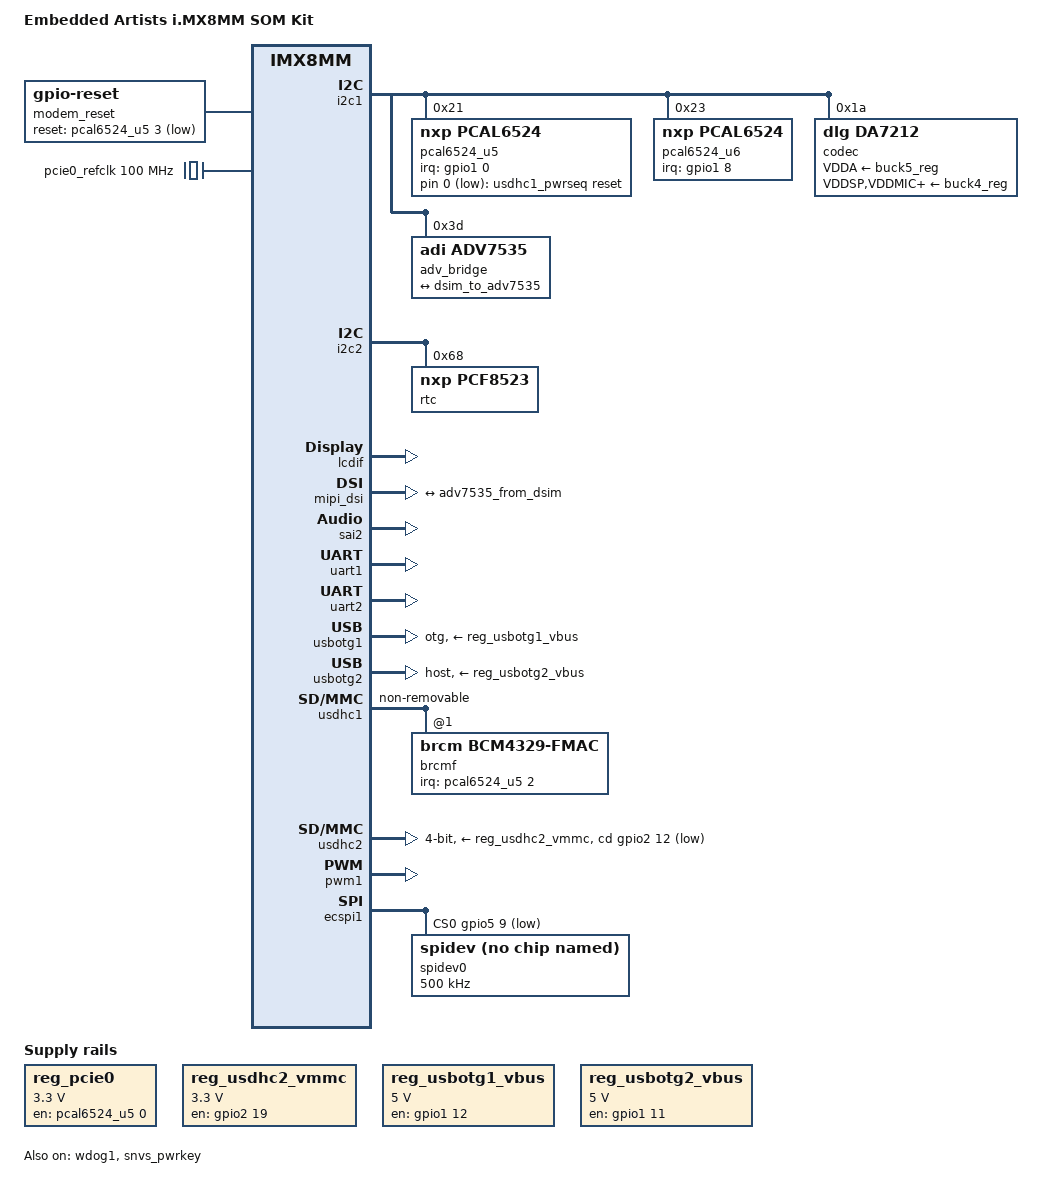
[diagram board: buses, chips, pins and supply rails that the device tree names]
/*
 * Copyright 2025 Embedded Artists AB
 *
 * This program is free software; you can redistribute it and/or
 * modify it under the terms of the GNU General Public License
 * as published by the Free Software Foundation; either version 2
 * of the License, or (at your option) any later version.
 *
 * This program is distributed in the hope that it will be useful,
 * but WITHOUT ANY WARRANTY; without even the implied warranty of
 * MERCHANTABILITY or FITNESS FOR A PARTICULAR PURPOSE.  See the
 * GNU General Public License for more details.
 */

/dts-v1/;

#include <dt-bindings/phy/phy-imx8-pcie.h>
#include "imx8mm-ea-som.dtsi"

/ {
	model = "Embedded Artists i.MX8MM SOM Kit";
	compatible = "fsl,imx8mmea-som", "fsl,imx8mm";

	chosen {
		bootargs = "console=ttymxc1,115200 earlycon=ec_imx6q,0x30890000,115200";
		stdout-path = &uart2;
	};

	modem_reset: modem-reset {
		compatible = "gpio-reset";
		reset-gpios = <&pcal6524_u5 3 GPIO_ACTIVE_LOW>; /* M2E_BT_REG_ON */
		initially-in-reset;
		reset-delay-us = <2000>;
		reset-post-delay-ms = <100>;
		#reset-cells = <0>;
	};


	pcie0_refclk: pcie0-refclk {
		compatible = "fixed-clock";
		#clock-cells = <0>;
		clock-frequency = <100000000>;
	};

	reg_pcie0: regulator-pcie {
		compatible = "regulator-fixed";
		regulator-name = "MPCIE_3V3";
		regulator-min-microvolt = <3300000>;
		regulator-max-microvolt = <3300000>;
		gpio = <&pcal6524_u5 0 GPIO_ACTIVE_HIGH>; /* M2E_WL_REG_ON */
		enable-active-high;
	};

	regulators {
		compatible = "simple-bus";
		#address-cells = <1>;
		#size-cells = <0>;

		reg_usdhc2_vmmc: regulator-usdhc2 {
			compatible = "regulator-fixed";
			regulator-name = "VSD_3V3";
			regulator-min-microvolt = <3300000>;
			regulator-max-microvolt = <3300000>;
			gpio = <&gpio2 19 GPIO_ACTIVE_HIGH>;
			off-on-delay = <20000>;
			enable-active-high;
		};

		reg_usbotg1_vbus: regulator-usbotg1 {
			compatible = "regulator-fixed";
			regulator-name = "usbotg_vbus";
			regulator-min-microvolt = <5000000>;
			regulator-max-microvolt = <5000000>;
			gpio = <&gpio1 12 GPIO_ACTIVE_HIGH>;
			off-on-delay = <20000>;
			enable-active-high;
		};

		reg_usbotg2_vbus: regulator-usbotg2 {
			compatible = "regulator-fixed";
			regulator-name = "usbotg_vbus";
			regulator-min-microvolt = <5000000>;
			regulator-max-microvolt = <5000000>;
			gpio = <&gpio1 11 GPIO_ACTIVE_HIGH>;
			off-on-delay = <20000>;
			enable-active-high;
		};

		/* add construct for "fmac" to control WL_REG_ON signal */
		usdhc1_pwrseq: usdhc1_pwrseq {
			compatible = "mmc-pwrseq-simple";
			reset-gpios = <&pcal6524_u5 0 GPIO_ACTIVE_LOW>; /* M2E_WL_REG_ON */
			post-power-on-delay-ms = <120>;
			status = "okay";
		};

	};

	sound-da7217 {
		compatible = "simple-audio-card";
		simple-audio-card,name = "da7217-audio";
		simple-audio-card,format = "i2s";
		simple-audio-card,frame-master = <&cpudai>;
		simple-audio-card,bitclock-master = <&cpudai>;
		simple-audio-card,widgets = "Speaker", "Ext Spk";
		simple-audio-card,routing = "Ext Spk", "LINE";

		cpudai: simple-audio-card,cpu {
			sound-dai = <&sai2>;
			dai-tdm-slot-num = <2>;
			dai-tdm-slot-width = <32>;
		};

		simple-audio-card,codec {
			sound-dai = <&codec>;
			clocks = <&clk IMX8MM_CLK_SAI2_ROOT>;
		};
	};

};

&iomuxc {
	pinctrl-names = "default";

	imx8mmea-som-kit {

		pinctrl_mipi_dsi_en: mipi_dsi_en {
			fsl,pins = <
				MX8MM_IOMUXC_GPIO1_IO08_GPIO1_IO8		0x16
			>;
		};

		pinctrl_pcie0: pcie0grp {
			fsl,pins = <
				MX8MM_IOMUXC_I2C4_SCL_PCIE1_CLKREQ_B	0x61    /* open drain, pull up */
				MX8MM_IOMUXC_NAND_DATA02_GPIO3_IO8      0x06    /* Reset for onboard DeepX */
			>;
		};

		pinctrl_sai2: sai2grp {
			fsl,pins = <
				MX8MM_IOMUXC_SAI2_MCLK_SAI2_MCLK	0xd6
				MX8MM_IOMUXC_SAI2_TXD0_SAI2_TX_DATA0	0xd6
				MX8MM_IOMUXC_SAI2_TXC_SAI2_TX_BCLK	0xd6
				MX8MM_IOMUXC_SAI2_RXD0_SAI2_RX_DATA0	0xd6
				MX8MM_IOMUXC_SAI2_TXFS_SAI2_TX_SYNC	0xd6
			>;
		};

		pinctrl_uart1: uart1grp {
			fsl,pins = <
				MX8MM_IOMUXC_UART1_RXD_UART1_DCE_RX	0x140
				MX8MM_IOMUXC_UART1_TXD_UART1_DCE_TX	0x140
				MX8MM_IOMUXC_UART3_RXD_UART1_DCE_CTS_B	0x140
				MX8MM_IOMUXC_UART3_TXD_UART1_DCE_RTS_B	0x140
			>;
		};

		pinctrl_uart2: uart2grp {
			fsl,pins = <
				MX8MM_IOMUXC_UART2_RXD_UART2_DCE_RX	0x140
				MX8MM_IOMUXC_UART2_TXD_UART2_DCE_TX	0x140
			>;
		};

		pinctrl_usdhc1: usdhc1grp {
			fsl,pins = <
				MX8MM_IOMUXC_SD1_CLK_USDHC1_CLK		0x190
				MX8MM_IOMUXC_SD1_CMD_USDHC1_CMD		0x1d0
				MX8MM_IOMUXC_SD1_DATA0_USDHC1_DATA0	0x1d0
				MX8MM_IOMUXC_SD1_DATA1_USDHC1_DATA1	0x1d0
				MX8MM_IOMUXC_SD1_DATA2_USDHC1_DATA2	0x1d0
				MX8MM_IOMUXC_SD1_DATA3_USDHC1_DATA3	0x1d0
			>;
		};

		pinctrl_usdhc1_100mhz: usdhc1grp100mhz {
			fsl,pins = <
				MX8MM_IOMUXC_SD1_CLK_USDHC1_CLK		0x194
				MX8MM_IOMUXC_SD1_CMD_USDHC1_CMD		0x1d4
				MX8MM_IOMUXC_SD1_DATA0_USDHC1_DATA0	0x1d4
				MX8MM_IOMUXC_SD1_DATA1_USDHC1_DATA1	0x1d4
				MX8MM_IOMUXC_SD1_DATA2_USDHC1_DATA2	0x1d4
				MX8MM_IOMUXC_SD1_DATA3_USDHC1_DATA3	0x1d4
			>;
		};

		pinctrl_usdhc1_200mhz: usdhc1grp200mhz {
			fsl,pins = <
				MX8MM_IOMUXC_SD1_CLK_USDHC1_CLK		0x192
				MX8MM_IOMUXC_SD1_CMD_USDHC1_CMD		0x1d4
				MX8MM_IOMUXC_SD1_DATA0_USDHC1_DATA0	0x1d4
				MX8MM_IOMUXC_SD1_DATA1_USDHC1_DATA1	0x1d4
				MX8MM_IOMUXC_SD1_DATA2_USDHC1_DATA2	0x1d4
				MX8MM_IOMUXC_SD1_DATA3_USDHC1_DATA3	0x1d4
			>;
		};

		pinctrl_usdhc2_gpio: usdhc2grpgpio {
			fsl,pins = <
				MX8MM_IOMUXC_SD2_RESET_B_GPIO2_IO19     0x41
				MX8MM_IOMUXC_SD2_CD_B_GPIO2_IO12	0x1c4
			>;
		};

		pinctrl_usdhc2: usdhc2grp {
			fsl,pins = <
				MX8MM_IOMUXC_SD2_CLK_USDHC2_CLK		0x190
				MX8MM_IOMUXC_SD2_CMD_USDHC2_CMD		0x1d0
				MX8MM_IOMUXC_SD2_DATA0_USDHC2_DATA0	0x1d0
				MX8MM_IOMUXC_SD2_DATA1_USDHC2_DATA1	0x1d0
				MX8MM_IOMUXC_SD2_DATA2_USDHC2_DATA2	0x1d0
				MX8MM_IOMUXC_SD2_DATA3_USDHC2_DATA3	0x1d0
				MX8MM_IOMUXC_GPIO1_IO04_USDHC2_VSELECT	0x1d0
			>;
		};

		pinctrl_usdhc2_100mhz: usdhc2grp100mhz {
			fsl,pins = <
				MX8MM_IOMUXC_SD2_CLK_USDHC2_CLK		0x194
				MX8MM_IOMUXC_SD2_CMD_USDHC2_CMD		0x1d4
				MX8MM_IOMUXC_SD2_DATA0_USDHC2_DATA0	0x1d4
				MX8MM_IOMUXC_SD2_DATA1_USDHC2_DATA1	0x1d4
				MX8MM_IOMUXC_SD2_DATA2_USDHC2_DATA2	0x1d4
				MX8MM_IOMUXC_SD2_DATA3_USDHC2_DATA3	0x1d4
				MX8MM_IOMUXC_GPIO1_IO04_USDHC2_VSELECT	0x1d0
			>;
		};

		pinctrl_usdhc2_200mhz: usdhc2grp200mhz {
			fsl,pins = <
				MX8MM_IOMUXC_SD2_CLK_USDHC2_CLK		0x196
				MX8MM_IOMUXC_SD2_CMD_USDHC2_CMD		0x1d6
				MX8MM_IOMUXC_SD2_DATA0_USDHC2_DATA0	0x1d6
				MX8MM_IOMUXC_SD2_DATA1_USDHC2_DATA1	0x1d6
				MX8MM_IOMUXC_SD2_DATA2_USDHC2_DATA2	0x1d6
				MX8MM_IOMUXC_SD2_DATA3_USDHC2_DATA3	0x1d6
				MX8MM_IOMUXC_GPIO1_IO04_USDHC2_VSELECT	0x1d0
			>;
		};

		pinctrl_wdog: wdoggrp {
			fsl,pins = <
				MX8MM_IOMUXC_GPIO1_IO02_WDOG1_WDOG_B		0xc6
			>;
		};

		pinctrl_pwm1: pwm1grp {
			fsl,pins = <
				MX8MM_IOMUXC_GPIO1_IO01_PWM1_OUT		0x06
			>;
		};

		pinctrl_usbotg1: usbotg1grp {
			fsl,pins = <
				MX8MM_IOMUXC_GPIO1_IO12_GPIO1_IO12		0x1d6     /* USB1_PWR_EN */
				MX8MM_IOMUXC_GPIO1_IO13_USB1_OTG_OC		0x1d6
			>;
		};
		pinctrl_usbotg2: usbotg2grp {
			fsl,pins = <
				MX8MM_IOMUXC_GPIO1_IO11_GPIO1_IO11		0x1d6     /* USB2_PWR_EN */
			>;
		};
		pinctrl_pcal6524_u5: pcal6524u5grp {
			fsl,pins = <
				MX8MM_IOMUXC_GPIO1_IO00_GPIO1_IO0		0x1d6     /* GPIO_A-IRQ */
			>;
		};
		pinctrl_pcal6524_u6: pcal6524u6grp {
			fsl,pins = <
				MX8MM_IOMUXC_GPIO1_IO08_GPIO1_IO8		0x1d6     /* GPIO_B-IRQ */
			>;
		};
		pinctrl_ecspi1: ecspi1grp {
			fsl,pins = <
				MX8MM_IOMUXC_ECSPI1_SCLK_ECSPI1_SCLK		0x80  /* MIKROE-SCK */
				MX8MM_IOMUXC_ECSPI1_MOSI_ECSPI1_MOSI		0x80  /* MIKROE-MOSI */
				MX8MM_IOMUXC_ECSPI1_MISO_ECSPI1_MISO		0x80  /* MIKROE-MISO */
				MX8MM_IOMUXC_ECSPI1_SS0_GPIO5_IO9		0x80  /* MIKROE-CS */
			>;
		};
	};
};

&i2c1 {
	pcal6524_u5: gpio@21 {
		compatible = "nxp,pcal6524";
		pinctrl-names = "default";
		pinctrl-0 = <&pinctrl_pcal6524_u5>;
		reg = <0x21>;
		gpio-controller;
		#gpio-cells = <2>;
		interrupt-controller;
		#interrupt-cells = <2>;
		interrupt-parent = <&gpio1>;
		interrupts = <0 IRQ_TYPE_EDGE_BOTH>;
		gpio-line-names = "M2E_WL_REG_ON_3V3", "M2E_WL_DEV_WAKE", "M2E_WL_HOST_WAKE", "M2E_BT_REG_ON", 
			"M2E_BT_DEV_WAKE", "M2E_BT_HOST_WAKE", "M2E_SDIO_RST", "M2E_PERST", 
			"M2E_PEWAKE", "M2E_ALERT", "M2E_PWR_EN", "M2B_PWR_OFF",
			"M2B_WDISABLE", "M2B_PEWAKE", "M2B_PERST", "M2M_PERST",
			"M2M_PEWAKE", "M2BM_PWR_EN", "M2B_RESET", "SE050_EN_RST",
			"SLS32AIA_RST", "I2C_EXT_IRQ", "I2C_EXT_RST", "MIPI_RST";

		hog_M2BM_PWR_EN {
			gpio-hog;
			gpios = <17 0>;
			output-high;
		};
		hog_SE050_EN_RST {
			gpio-hog;
			gpios = <19 0>;
			output-high;
		};
		hog_SLS32AIA_RST {
			gpio-hog;
			gpios = <20 0>;
			output-high;
		};
		hog_I2C_EXT_RST {
			gpio-hog;
			gpios = <22 0>;
			output-high;
		};
		hog_MIPI_RST {
			gpio-hog;
			gpios = <23 0>;
			output-high;
		};
	};

	pcal6524_u6: gpio@23 {
		compatible = "nxp,pcal6524";
		pinctrl-names = "default";
		pinctrl-0 = <&pinctrl_pcal6524_u6>;
		reg = <0x23>;
		gpio-controller;
		#gpio-cells = <2>;
		interrupt-controller;
		#interrupt-cells = <2>;
		interrupt-parent = <&gpio1>;
		interrupts = <8 IRQ_TYPE_EDGE_BOTH>;
		gpio-line-names = "CSI0_RST-DATA", "CSI0_PWR-CLK", "CSI1_RST-DATA", "CSI1_PWR-CLK", 
			"MIPI_CTP_RST", "MIPI_CTP_IRQ", "RGB_BL_PWR", "RGB_CTP_RST",
			"RGB_CTP_IRQ", "MIPI_BL_PWR_EN", "ADV_IRQ", "",
			"", "", "", "RGB_LED_RED",
			"RGB_LED_BLUE", "RGB_LED_GREEN", "USER_LED_RED", "USER_LED_GREEN",
			"USER_LED_YELLOW", "USER_BUTTON1", "USER_BUTTON2", "USER_BUTTON3";

		hog_CSI0_RST_DATA {
			gpio-hog;
			gpios = <0 0>;
			output-high;
		};
		hog_CSI0_PWR_CLK {
			gpio-hog;
			gpios = <1 0>;
			output-high;
		};
		hog_CSI1_RST_DATA {
			gpio-hog;
			gpios = <2 0>;
			output-high;
		};
		hog_CSI1_PWR_CLK {
			gpio-hog;
			gpios = <3 0>;
			output-high;
		};
		hog_MIPI_CTP_RST {
			gpio-hog;
			gpios = <4 0>;
			output-high;
		};
		hog_RGB_BL_PWR {
			gpio-hog;
			gpios = <6 0>;
			output-low;
		};
		hog_RGB_CTP_RST {
			gpio-hog;
			gpios = <7 0>;
			output-high;
		};
		hog_MIPI_BL_PWR_EN {
			gpio-hog;
			gpios = <9 0>;
			output-low;
		};
	};

	codec: audio-codec@1a {
		compatible = "dlg,da7212";
		reg = <0x1a>;
		#sound-dai-cells = <0>;
		
		/* From 
		 * arch/arm/boot/dts/nxp/imx/imx6dl-b1x5pv2.dtsi
		 * arch/arm64/boot/dts/renesas/r8a779g0-white-hawk-ard-audio-da7212.dtso
		 */

		VDDA-supply = <&buck5_reg>; /* 1v8 */
		VDDSP-supply = <&buck4_reg>; /* 3v3 */
		VDDMIC-supply = <&buck4_reg>; /* 3v3 */
		VDDIO-supply = <&buck4_reg>; /* 3v3 */

		/*dlg,micbias1-lvl = <2500>;*/
		/*dlg,micbias2-lvl = <2500>;*/
		/*dlg,dmic-data-sel = "lrise_rfall";*/
		/*dlg,dmic-samplephase = "between_clkedge";*/
		/*dlg,dmic-clkrate = <3000000>;*/

		clocks = <&clk IMX8MM_CLK_SAI2_ROOT>;
		clock-names = "mclk";
        };

	/* MISSING CAM1 CSI Camera: Unknown I2C-address */

	/* MISSING MIPI-DSI Display Capacitive Touch: Unknown I2C-address */

	adv_bridge: adv7535@3d {
		compatible = "adi,adv7535";
		reg = <0x3d>;
		adi,dsi-lanes = <4>;
		status = "okay";
		/*interrupt-parent = <&pcal6524_u6>;
		interrupts = <10 IRQ_TYPE_LEVEL_LOW>;  / * ADV_IRQ */

		port {
			adv7535_from_dsim: endpoint {
				remote-endpoint = <&dsim_to_adv7535>;
			};
		};
	};

	/* MISSING EUI-48 address memory: reg 0x52 but how to declare it? */
};

&i2c2 {
	/* Missing SE05x security processor: reg 0x48 but how to declare it? */

	/* Missing SLS32AIA010MK secure element: reg 0x30 but how to declare it? */

	rtc@68 {
		compatible = "nxp,pcf8523";
		reg = <0x68>;
	};
};

&lcdif {
	status = "okay";
};

&mipi_dsi {
	status = "okay";

	port@1 {
		dsim_to_adv7535: endpoint {
			remote-endpoint = <&adv7535_from_dsim>;
			attach-bridge;
		};
	};
};

&sai2 {
	#sound-dai-cells = <0>;
	pinctrl-names = "default";
	pinctrl-0 = <&pinctrl_sai2>;
	assigned-clocks = <&clk IMX8MM_CLK_SAI2>;
	assigned-clock-parents = <&clk IMX8MM_AUDIO_PLL2_OUT>;
	assigned-clock-rates = <11289600>;
	fsl,sai-mclk-direction-output;
	status = "okay";
};

&pcie_phy {
	fsl,refclk-pad-mode = <IMX8_PCIE_REFCLK_PAD_INPUT>;
	fsl,tx-deemph-gen1 = <0x2d>;
	fsl,tx-deemph-gen2 = <0xf>;
	clocks = <&pcie0_refclk>;
	status = "disabled";
};

&pcie0 {
	pinctrl-names = "default";
	pinctrl-0 = <&pinctrl_pcie0>;
	reset-gpio = <&pcal6524_u5  7 GPIO_ACTIVE_LOW>;   /* M2E_PERST# */
	clocks = <&clk IMX8MM_CLK_PCIE1_ROOT>,
		 <&clk IMX8MM_CLK_PCIE1_AUX>,
		 <&pcie0_refclk>;
	clock-names = "pcie", "pcie_aux", "pcie_bus";
	assigned-clocks = <&clk IMX8MM_CLK_PCIE1_AUX>,
			  <&clk IMX8MM_CLK_PCIE1_CTRL>;
	assigned-clock-rates = <10000000>, <250000000>;
	assigned-clock-parents = <&clk IMX8MM_SYS_PLL2_50M>,
				 <&clk IMX8MM_SYS_PLL2_250M>;
	vpcie-supply = <&reg_pcie0>;
	status = "disabled";
};

/* Bluetooth UART for m.2 connector on Carrier Board */
&uart1 {
	pinctrl-names = "default";
	pinctrl-0 = <&pinctrl_uart1>;
	status = "okay";

	assigned-clocks = <&clk IMX8MM_CLK_UART1>;
	assigned-clock-parents = <&clk IMX8MM_SYS_PLL1_80M>;

	resets = <&modem_reset>;
	fsl,uart-has-rtscts;
};

/* Console */
&uart2 {
	pinctrl-names = "default";
	pinctrl-0 = <&pinctrl_uart2>;
	status = "okay";
};

/* Disabled as pins are used by Bluetooth for RTS/CTS */
&uart3 {
	status = "disabled";
};

&usbotg1 {
	dr_mode = "otg";
	picophy,pre-emp-curr-control = <3>;
	picophy,dc-vol-level-adjust = <7>;
	status = "okay";

	pinctrl-names = "default";
	pinctrl-0 = <&pinctrl_usbotg1>;
	vbus-supply = <&reg_usbotg1_vbus>;
};

&usbotg2 {
	dr_mode = "host";
	picophy,pre-emp-curr-control = <3>;
	picophy,dc-vol-level-adjust = <7>;
	status = "okay";

	pinctrl-names = "default";
	pinctrl-0 = <&pinctrl_usbotg2>;
	vbus-supply = <&reg_usbotg2_vbus>;
};

/* Functionality differs for usdhc1 depending on what is mounted on
   the SOM. If the SOM has an onboard 2FY module mounted then usdhc1
   is connected to that. If there is no 2FY module on the SOM then
   usdhc1 is connected to the M.2 key E connector on the Carrier
   Board. */
&usdhc1 {
	#address-cells = <1>;
	#size-cells = <0>;
	pinctrl-names = "default", "state_100mhz", "state_200mhz";
	pinctrl-0 = <&pinctrl_usdhc1>;
	pinctrl-1 = <&pinctrl_usdhc1_100mhz>;
	pinctrl-2 = <&pinctrl_usdhc1_200mhz>;
	keep-power-in-suspend;
	non-removable;
	pm-ignore-notify;
	cap-power-off;
	mmc-pwrseq = <&usdhc1_pwrseq>;
	status = "okay";
	brcmf: bcrmf@1 {
		reg = <1>;
		compatible = "brcm,bcm4329-fmac";
		interrupt-parent = <&pcal6524_u5>;
		interrupts = <2 IRQ_TYPE_LEVEL_LOW>;  /* M2E_WL_HOST_WAKE active low for M.2. */
		interrupt-names = "host-wake";
	};
};

/* uSD connector on the Carrier Board */
&usdhc2 {
	pinctrl-names = "default", "state_100mhz", "state_200mhz";
	pinctrl-0 = <&pinctrl_usdhc2>, <&pinctrl_usdhc2_gpio>;
	pinctrl-1 = <&pinctrl_usdhc2_100mhz>, <&pinctrl_usdhc2_gpio>;
	pinctrl-2 = <&pinctrl_usdhc2_200mhz>, <&pinctrl_usdhc2_gpio>;
	bus-width = <4>;
	cd-gpios = <&gpio2 12 GPIO_ACTIVE_LOW>;
	vmmc-supply = <&reg_usdhc2_vmmc>;
	status = "okay";
};

&wdog1 {
	pinctrl-names = "default";
	pinctrl-0 = <&pinctrl_wdog>;
	fsl,ext-reset-output;
	status = "okay";
};

&pwm1 {
	status= "okay";
	pinctrl-names = "default";
	pinctrl-0 = <&pinctrl_pwm1>;
};

&snvs_pwrkey {
	status= "okay";   /* Enables SW5 ON/OFF */
};

/* SPI interface for the MIKROE connector. Can also be used for the SPI interface
   of the 2EL M.2 module. */
&ecspi1 {
	#address-cells = <1>;
	#size-cells = <0>;
	fsl,spi-num-chipselects = <1>;
	pinctrl-names = "default";
	pinctrl-0 = <&pinctrl_ecspi1>;
	cs-gpios = <&gpio5 9 GPIO_ACTIVE_LOW>;
	status = "okay";

	spidev0: spi@0 {
		reg = <0>;
		compatible = "rohm,dh2228fv";
		spi-max-frequency = <500000>;
	};
};

